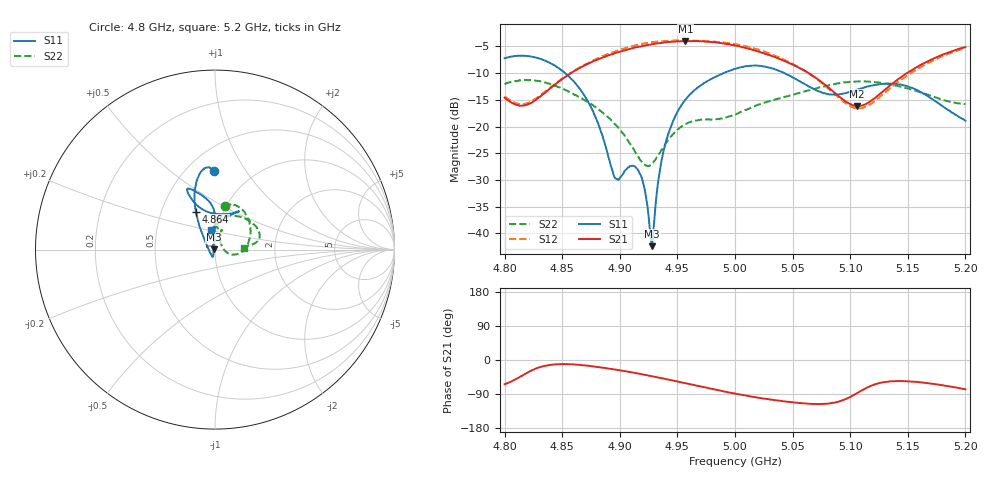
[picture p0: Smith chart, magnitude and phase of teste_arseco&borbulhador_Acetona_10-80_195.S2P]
! Network Analyzer HP8722D
! Hewlett-Packard
! Data name: Linha & Wilkinson
! Saver's name: Rodrigo Anjos
! Comments: Teste da utilização de aquisição
! continua pelo VNA HP8722D
! Time and date: 25/4/2025 16:53
!  Frequency  S11  S21  S12  S22
# HZ  S  MA R 50
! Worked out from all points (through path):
!   401 points, 4.8 GHz to 5.2 GHz, reference 50 ohm
!   highest |S21| = -4.00 dB at 4.957 GHz (marker M1); lowest = -16.2 dB at 5.106 GHz (marker M2)
!   lowest |S11| = -42.4 dB at 4.928 GHz (marker M3), VSWR 1.02, Z = 49.3 + j0.131 ohm
!   |S11| at or under -10 dB: 4.853 GHz to 4.99 GHz (137.5 MHz wide, 2.79 % of centre); 5.043 GHz to end of sweep
!   |S22| runs from -27.4 to -11.3 dB; largest |S21 - S12| = 1.2
!   S11 on the Smith chart (normalised r, x): 4.8 GHz: 0.67, +0.72; 4.864 GHz: 0.75, +0.33; 5.2 GHz: 0.94, +0.21
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4.8e9  0.4357 91.1  0.1856 -63.9  0.1912 69.4  0.2493 77.4
4.821e9  0.4559 97.7  0.1628 -31.1  0.1673 99.6  0.2709 61.2
4.845e9  0.3631 107.6  0.2533 -11.3  0.2569 119.4  0.2391 34.7
4.864e9  0.235 116.9  0.3471 -12.5  0.3509 121.1  0.1906 12.5
4.867e9  0.2117 118.5  0.3615 -13.6  0.3655 121.0  0.1832 9.1
4.88e9  0.1149 128.8  0.4206 -18.2  0.4307 118.4  0.1493 -4.8
4.896e9  0.03284 -170.8  0.4874 -25.3  0.5042 113.3  0.1051 -15.5
4.91e9  0.0427 -108.6  0.5363 -32.4  0.5617 107.2  0.06554 -12.9
4.917e9  0.03676 -105.4  0.5611 -36.2  0.5876 103.8  0.04999 -0.7
4.921e9  0.02753 -109.2  0.5703 -38.5  0.5988 101.5  0.04405 11.9
4.926e9  0.01104 -135.8  0.5839 -41.5  0.6101 98.6  0.0429 32.2
4.928e9  0.007583 169.9  0.5898 -42.7  0.6158 97.4  0.04523 40.4
4.934e9  0.03431 100.6  0.6029 -46.6  0.627 93.5  0.05508 57.4
4.943e9  0.09106 91.3  0.6181 -52.3  0.6357 87.7  0.07706 68.1
4.957e9  0.1788 89.9  0.631 -61.3  0.6383 78.8  0.1052 70.8
5e9  0.3468 109.3  0.5728 -88.8  0.5919 51.0  0.1299 88.2
5.03e9  0.3556 115.4  0.4661 -104.1  0.4808 34.0  0.1723 85.5
5.067e9  0.2285 105.7  0.3012 -115.8  0.2985 23.6  0.2221 57.2
5.106e9  0.2209 65.5  0.1555 -87.4  0.1476 55.7  0.2639 25.0
5.134e9  0.2522 58.1  0.2394 -56.6  0.2248 88.7  0.2489 12.5
5.168e9  0.1905 70.0  0.4113 -61.5  0.3946 85.4  0.1965 7.1
5.2e9  0.1131 100.8  0.5528 -77.3  0.5418 70.4  0.1624 3.9
